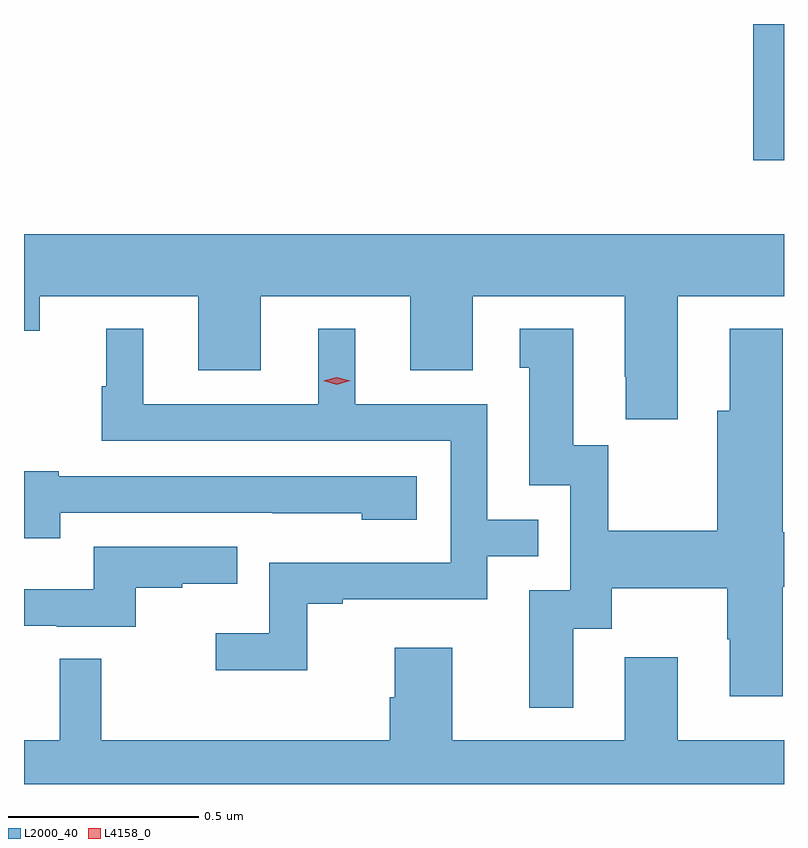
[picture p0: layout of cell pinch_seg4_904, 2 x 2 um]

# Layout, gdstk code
import gdstk
lib = gdstk.Library(unit=1e-6, precision=1e-09)
def R(c, l, rs):  # rectangles x0, y0, x1, y1
    for r in rs: c.add(gdstk.rectangle(r[:2], r[2:], *l))
def P(c, l, *ps):  # polygons
    for p in ps: c.add(gdstk.Polygon(p, *l))
L2000_40 = (2000, 40)
L4158_0 = (4158, 0)

pinch_seg4_904 = lib.new_cell('pinch_seg4_904')
R(pinch_seg4_904, L2000_40, [(737.431,829.146,737.512,829.505)])
P(pinch_seg4_904, L2000_40, [(737.233,828.788),(737.512,828.788),(737.512,828.952),(735.512,828.952),(735.512,828.698),(735.553,828.698),(735.553,828.788),(735.971,828.788),(735.971,828.594),(736.135,828.594),(736.135,828.788),(736.529,828.788),(736.529,828.594),(736.693,828.594),(736.693,828.788),(737.093,828.788),(737.093,828.577),(737.095,828.577),(737.095,828.465),(737.233,828.465)],
  [(736.257,827.979),(736.351,827.979),(736.351,827.991),(736.731,827.991),(736.731,828.105),(736.865,828.105),(736.865,828.201),(736.731,828.201),(736.731,828.504),(736.384,828.504),(736.384,828.703),(736.286,828.703),(736.286,828.504),(735.826,828.504),(735.826,828.703),(735.728,828.703),(735.728,828.552),(735.717,828.552),(735.717,828.408),(736.635,828.408),(736.635,828.087),(736.158,828.087),(736.158,827.902),(736.017,827.902),(736.017,827.804),(736.257,827.804)],
  [(736.957,827.914),(737.059,827.914),(737.059,828.02),(737.362,828.02),(737.362,827.886),(737.369,827.886),(737.369,827.736),(737.509,827.736),(737.509,828.024),(737.512,828.024),(737.512,828.168),(737.509,828.168),(737.509,828.703),(737.369,828.703),(737.369,828.487),(737.336,828.487),(737.336,828.172),(737.05,828.172),(737.05,828.397),(736.957,828.397),(736.957,828.703),(736.817,828.703),(736.817,828.6),(736.841,828.6),(736.841,828.291),(736.95,828.291),(736.95,828.015),(736.841,828.015),(736.841,827.706),(736.957,827.706)],
  [(735.607,828.219),(736.165,828.219),(736.165,828.218),(736.401,828.218),(736.401,828.2),(736.546,828.2),(736.546,828.315),(735.603,828.315),(735.603,828.328),(735.512,828.328),(735.512,828.152),(735.607,828.152)],
  [(735.806,828.021),(735.929,828.021),(735.929,828.032),(736.073,828.032),(736.073,828.129),(735.696,828.129),(735.696,828.017),(735.512,828.017),(735.512,827.922),(735.598,827.922),(735.598,827.919),(735.806,827.919)],
  [(737.512,827.62),(737.233,827.62),(737.233,827.839),(737.093,827.839),(737.093,827.62),(736.639,827.62),(736.639,827.863),(736.487,827.863),(736.487,827.733),(736.475,827.733),(736.475,827.62),(735.715,827.62),(735.715,827.834),(735.606,827.834),(735.606,827.62),(735.512,827.62),(735.512,827.505),(737.512,827.505)])
P(pinch_seg4_904, L4158_0, [(736.335,828.556),(736.3,828.566),(736.299,828.566),(736.3,828.566),(736.335,828.576),(736.37,828.566),(736.371,828.566),(736.37,828.566)])

lib.write_gds('pinch_seg4_904.gds')
